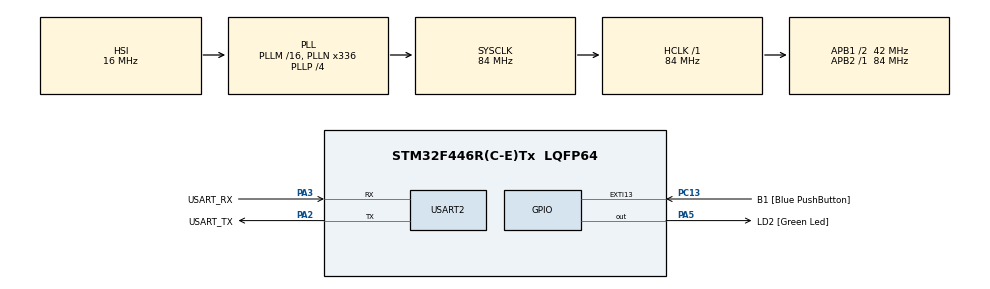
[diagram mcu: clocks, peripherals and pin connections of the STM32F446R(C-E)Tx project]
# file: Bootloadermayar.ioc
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Mcu.Family=STM32F4
Mcu.Name=STM32F446R(C-E)Tx
Mcu.Package=LQFP64
NVIC.PriorityGroup=NVIC_PRIORITYGROUP_0
PA13.GPIO_Label=TMS
PA13.Mode=Serial_Wire
PA13.Signal=SYS_JTMS-SWDIO
PA14.GPIO_Label=TCK
PA14.Mode=Serial_Wire
PA14.Signal=SYS_JTCK-SWCLK
PA2.GPIO_Label=USART_TX
PA2.Mode=Asynchronous
PA2.Signal=USART2_TX
PA3.GPIO_Label=USART_RX
PA3.Mode=Asynchronous
PA3.Signal=USART2_RX
PA5.GPIO_Label=LD2 [Green Led]
PA5.Signal=GPIO_Output
PB3.GPIO_Label=SWO
PB3.Signal=SYS_JTDO-SWO
PC13.GPIO_Label=B1 [Blue PushButton]
PC13.GPIO_ModeDefaultEXTI=GPIO_MODE_IT_FALLING
PC13.Signal=GPXTI13
PC14-OSC32_IN.Mode=LSE-External-Oscillator
PC14-OSC32_IN.Signal=RCC_OSC32_IN
PC15-OSC32_OUT.Mode=LSE-External-Oscillator
PC15-OSC32_OUT.Signal=RCC_OSC32_OUT
PH0-OSC_IN.Mode=HSE-External-Oscillator
PH0-OSC_IN.Signal=RCC_OSC_IN
PH1-OSC_OUT.Mode=HSE-External-Oscillator
PH1-OSC_OUT.Signal=RCC_OSC_OUT
ProjectManager.HeapSize=0x200
ProjectManager.StackSize=0x400
ProjectManager.TargetToolchain=STM32CubeIDE
RCC.48MHZClocksFreq_Value=84000000
RCC.AHBFreq_Value=84000000
RCC.APB1CLKDivider=RCC_HCLK_DIV2
RCC.APB1Freq_Value=42000000
RCC.APB1TimFreq_Value=84000000
RCC.APB2Freq_Value=84000000
RCC.APB2TimFreq_Value=84000000
RCC.CortexFreq_Value=84000000
RCC.FLatency-AdvancedSettings=FLASH_LATENCY_2
RCC.HCLKFreq_Value=84000000
RCC.HSE_VALUE=8000000
RCC.HSI_VALUE=16000000
RCC.PLLN=336
RCC.PLLP=RCC_PLLP_DIV4
RCC.SYSCLKFreq_VALUE=84000000
RCC.SYSCLKSource=RCC_SYSCLKSOURCE_PLLCLK
RCC.USBFreq_Value=168000000
RCC.VCOOutputFreq_Value=336000000
USART2.VirtualMode=VM_ASYNC
VP_CRC_VS_CRC.Mode=CRC_Activate
board=NUCLEO-F446RE

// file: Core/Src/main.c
/* USER CODE BEGIN Header */
/**
  ******************************************************************************
  * @file           : main.c
  * @brief          : Main program body
  ******************************************************************************
  * @attention
  *
  * Copyright (c) 2024 STMicroelectronics.
  * All rights reserved.
  *
  * This software is licensed under terms that can be found in the LICENSE file
  * in the root directory of this software component.
  * If no LICENSE file comes with this software, it is provided AS-IS.
  *
  ******************************************************************************
  */
/* USER CODE END Header */
#include "main.h"
#include "BL.h"

/* USER CODE BEGIN Includes */
#include <string.h>  //for the memset();
/* USER CODE END Includes */

/* USER CODE BEGIN PD */
#define FLASH_SECTOR2_BASE_ADDRESS 0X08008000U

/* USER CODE END PD */

CRC_HandleTypeDef hcrc;

UART_HandleTypeDef huart2;

void SystemClock_Config(void);
static void MX_GPIO_Init(void);
static void MX_USART2_UART_Init(void);
static void MX_CRC_Init(void);

int main(void)
{
  /* USER CODE BEGIN 1 */
	char HelloBootloader[]="Hello from bootloader\r\n";

  /* USER CODE END 1 */

  /* MCU Configuration--------------------------------------------------------*/

  /* Reset of all peripherals, Initializes the Flash interface and the Systick. */
  HAL_Init();

  /* Configure the system clock */
  SystemClock_Config();

  /* Initialize all configured peripherals */
  MX_GPIO_Init();
  MX_USART2_UART_Init();
  MX_CRC_Init();
  /* USER CODE BEGIN 2 */

  if(HAL_GPIO_ReadPin(B1_GPIO_Port, B1_Pin)==GPIO_PIN_RESET) //button is pressed
  {
	  Bootloader_UartReadData();
  }
  else
  {
	  Bootloader_JumpToUserApp();
  }

  /* USER CODE END 2 */

  /* Infinite loop */
  while (1)
  {
	  HAL_UART_Transmit(&huart2, (uint8_t*)HelloBootloader, sizeof(HelloBootloader), HAL_MAX_DELAY);
	  HAL_Delay(1000);

  }
}

void SystemClock_Config(void)
{
  RCC_OscInitTypeDef RCC_OscInitStruct = {0};
  RCC_ClkInitTypeDef RCC_ClkInitStruct = {0};

  /** Configure the main internal regulator output voltage
  */
  __HAL_RCC_PWR_CLK_ENABLE();
  __HAL_PWR_VOLTAGESCALING_CONFIG(PWR_REGULATOR_VOLTAGE_SCALE3);

  /** Initializes the RCC Oscillators according to the specified parameters
  * in the RCC_OscInitTypeDef structure.
  */
  RCC_OscInitStruct.OscillatorType = RCC_OSCILLATORTYPE_HSI;
  RCC_OscInitStruct.HSIState = RCC_HSI_ON;
  RCC_OscInitStruct.HSICalibrationValue = RCC_HSICALIBRATION_DEFAULT;
  RCC_OscInitStruct.PLL.PLLState = RCC_PLL_ON;
  RCC_OscInitStruct.PLL.PLLSource = RCC_PLLSOURCE_HSI;
  RCC_OscInitStruct.PLL.PLLM = 16;
  RCC_OscInitStruct.PLL.PLLN = 336;
  RCC_OscInitStruct.PLL.PLLP = RCC_PLLP_DIV4;
  RCC_OscInitStruct.PLL.PLLQ = 2;
  RCC_OscInitStruct.PLL.PLLR = 2;
  if (HAL_RCC_OscConfig(&RCC_OscInitStruct) != HAL_OK)
  {
    Error_Handler();
  }

  /** Initializes the CPU, AHB and APB buses clocks
  */
  RCC_ClkInitStruct.ClockType = RCC_CLOCKTYPE_HCLK|RCC_CLOCKTYPE_SYSCLK
                              |RCC_CLOCKTYPE_PCLK1|RCC_CLOCKTYPE_PCLK2;
  RCC_ClkInitStruct.SYSCLKSource = RCC_SYSCLKSOURCE_PLLCLK;
  RCC_ClkInitStruct.AHBCLKDivider = RCC_SYSCLK_DIV1;
  RCC_ClkInitStruct.APB1CLKDivider = RCC_HCLK_DIV2;
  RCC_ClkInitStruct.APB2CLKDivider = RCC_HCLK_DIV1;

  if (HAL_RCC_ClockConfig(&RCC_ClkInitStruct, FLASH_LATENCY_2) != HAL_OK)
  {
    Error_Handler();
  }
}

static void MX_CRC_Init(void)
{

  hcrc.Instance = CRC;
  if (HAL_CRC_Init(&hcrc) != HAL_OK)
  {
    Error_Handler();
  }

}

static void MX_USART2_UART_Init(void)
{

  huart2.Instance = USART2;
  huart2.Init.BaudRate = 115200;
  huart2.Init.WordLength = UART_WORDLENGTH_8B;
  huart2.Init.StopBits = UART_STOPBITS_1;
  huart2.Init.Parity = UART_PARITY_NONE;
  huart2.Init.Mode = UART_MODE_TX_RX;
  huart2.Init.HwFlowCtl = UART_HWCONTROL_NONE;
  huart2.Init.OverSampling = UART_OVERSAMPLING_16;
  if (HAL_UART_Init(&huart2) != HAL_OK)
  {
    Error_Handler();
  }

}

static void MX_GPIO_Init(void)
{
  GPIO_InitTypeDef GPIO_InitStruct = {0};

  /* GPIO Ports Clock Enable */
  __HAL_RCC_GPIOC_CLK_ENABLE();
  __HAL_RCC_GPIOH_CLK_ENABLE();
  __HAL_RCC_GPIOA_CLK_ENABLE();
  __HAL_RCC_GPIOB_CLK_ENABLE();

  /*Configure GPIO pin Output Level */
  HAL_GPIO_WritePin(LD2_GPIO_Port, LD2_Pin, GPIO_PIN_RESET);

  /*Configure GPIO pin : B1_Pin */
  GPIO_InitStruct.Pin = B1_Pin;
  GPIO_InitStruct.Mode = GPIO_MODE_IT_FALLING;
  GPIO_InitStruct.Pull = GPIO_NOPULL;
  HAL_GPIO_Init(B1_GPIO_Port, &GPIO_InitStruct);

  /*Configure GPIO pin : LD2_Pin */
  GPIO_InitStruct.Pin = LD2_Pin;
  GPIO_InitStruct.Mode = GPIO_MODE_OUTPUT_PP;
  GPIO_InitStruct.Pull = GPIO_NOPULL;
  GPIO_InitStruct.Speed = GPIO_SPEED_FREQ_LOW;
  HAL_GPIO_Init(LD2_GPIO_Port, &GPIO_InitStruct);

}

/* USER CODE BEGIN 4 */

void Bootloader_UartReadData(void)         //reads the commands from the host
{
	uint8_t Localu8CmdPacket[255]={0};
	while(1)  //to be ready to receive any command as long as I'm in the boot mode
	{
		//I need to empty the array with every while1 iteration
		memset(Localu8CmdPacket,0,255); //0->the value i want to put in every item of the array , 255->the array size

		//first step to read the first byte which includes the length to follow field of the command
		HAL_UART_Receive(&huart2, Localu8CmdPacket, 1, HAL_MAX_DELAY); //array name is the address of the first byte of the array and 1 represents 1 byte

		//2nd step is to read the rest if the command and the size of it is the previously received value
		HAL_UART_Receive(&huart2, &Localu8CmdPacket[1]/*address ely hayebda2 y recieve mn 3ando */ , Localu8CmdPacket[0]/*VALUE BTA3ETHA HYA EL SIZE*/, HAL_MAX_DELAY);

		//3rd check the command code then handle it
		switch(Localu8CmdPacket[1]) //cause the command code was in the second byte
		{
		case BL_GET_VER           :BL_voidHandleGetVerCmd(Localu8CmdPacket)   ; break;
		case BL_GET_HELP          :BL_voidHandleGetHelpCmd(Localu8CmdPacket)   ; break;
		case BL_GET_CID           :BL_voidHandleGetCIDCmd(Localu8CmdPacket)   ; break;
		case BL_GET_RDP_STATUS    :BL_voidHandleGetRDPStatusCmd(Localu8CmdPacket)   ; break;
		case BL_GO_TO_ADDRESS     :BL_voidHandleGoToAddressCmd(Localu8CmdPacket)   ; break;
		case BL_FLASH_ERASE       :BL_voidHandleFlashEraseCmd(Localu8CmdPacket)   ; break;
		case BL_MEM_WRITE         :BL_voidHandleMemWriteCmd(Localu8CmdPacket)   ; break;
		case BL_EN_RW_PROTECT     :BL_voidHandleEnRWProtectCmd(Localu8CmdPacket)   ; break;
		case BL_MEM_READ          :BL_voidHandleMemReadCmd(Localu8CmdPacket)   ; break;
		case BL_READ_SECOR_STATUS :BL_voidHandleReadSectorStatusCmd(Localu8CmdPacket)   ; break;
		case BL_OTP_READ          :BL_voidHandleOTPReadCmd(Localu8CmdPacket)   ; break;
		case BL_DIS_RW_PROTECT    :BL_voidHandleDisRWProtectCmd(Localu8CmdPacket)   ; break;
		default:/*invalid command from host*/   break;

		}

	}

}
void Bootloader_JumpToUserApp(void)
{

	//define pointer to func that contains the address of reset handler of the user app
	void (*App_ResetHandler)(void);//one of the reasons why we used pointer to func is that we can use this func for different apps with different reset handler addresses

	//configure MSP of the user app by reading value from base address of sector2
	uint32_t Local_u32MSPVal = *((volatile uint32_t*)(FLASH_SECTOR2_BASE_ADDRESS));
	__asm volatile ("MSR MSP, %0"::"r"(Local_u32MSPVal)); //write the value inside MSP register

	//get the data inside reset handler address of the user app
	uint32_t ResetHandlerAddress = *((volatile uint32_t*)(FLASH_SECTOR2_BASE_ADDRESS+4));
	App_ResetHandler = (void*)ResetHandlerAddress;

	//jump to the user app reset handler
	App_ResetHandler();

}

/* USER CODE END 4 */

void Error_Handler(void)
{
  __disable_irq();
  while (1)
  {
  }
}
